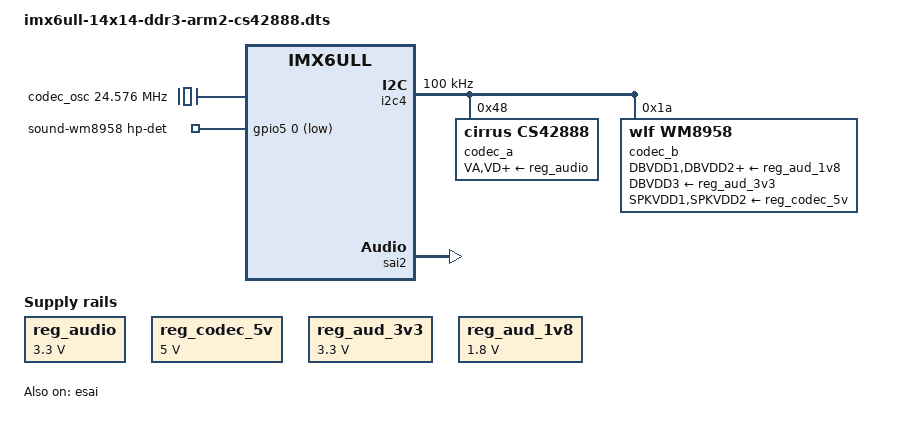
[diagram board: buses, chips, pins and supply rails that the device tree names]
/*
 * Copyright (C) 2016 Freescale Semiconductor, Inc.
 *
 * This program is free software; you can redistribute it and/or modify
 * it under the terms of the GNU General Public License version 2 as
 * published by the Free Software Foundation.
 */

#include "imx6ull-14x14-ddr3-arm2.dts"

/ {
	clocks {
		codec_osc: anaclk2 {
			#clock-cells = <0>;
			compatible = "fixed-clock";
			clock-frequency = <24576000>;
		};
	};

	regulators {
		compatible = "simple-bus";
		#address-cells = <1>;
		#size-cells = <0>;

		reg_audio: cs42888_supply {
			compatible = "regulator-fixed";
			regulator-name = "cs42888_supply";
			regulator-min-microvolt = <3300000>;
			regulator-max-microvolt = <3300000>;
			regulator-always-on;
		};

		reg_codec_5v: codec_5v {
			compatible = "regulator-fixed";
			regulator-name = "CODEC_5V";
			regulator-min-microvolt = <5000000>;
			regulator-max-microvolt = <5000000>;
			enable-active-high;
		};

		reg_aud_3v3: aud_3v3 {
			compatible = "regulator-fixed";
			regulator-name = "AUD_3V3";
			regulator-min-microvolt = <3300000>;
			regulator-max-microvolt = <3300000>;
			enable-active-high;
		};

		reg_aud_1v8: aud_1v8 {
			compatible = "regulator-fixed";
			regulator-name = "AUD_1V8";
			regulator-min-microvolt = <1800000>;
			regulator-max-microvolt = <1800000>;
			enable-active-high;
		};
	};

	sound-cs42888 {
		compatible = "fsl,imx6-sabreauto-cs42888",
			   "fsl,imx-audio-cs42888";
		model = "imx-cs42888";
		esai-controller = <&esai>;
		asrc-controller = <&asrc>;
		audio-codec = <&codec_a>;
		codec-master;
	};

	sound-wm8958 {
		compatible = "fsl,imx6ul-ddr3-arm2-wm8958",
			   "fsl,imx-audio-wm8958";
		model = "wm8958-audio";
		cpu-dai = <&sai2>;
		audio-codec = <&codec_b>;
		codec-master;
		gpr = <&gpr>;
		hp-det-gpios = <&gpio5 0 1>;
	};
};

&clks {
	assigned-clocks = <&clks IMX6UL_CLK_PLL4_AUDIO_DIV>;
	assigned-clock-rates = <786432000>;
};

&esai {
	pinctrl-names = "default";
	pinctrl-0 = <&pinctrl_esai>;
	assigned-clocks = <&clks IMX6UL_CLK_ESAI_SEL>,
		          <&clks IMX6UL_CLK_ESAI_EXTAL>;
	assigned-clock-parents = <&clks IMX6UL_CLK_PLL4_AUDIO_DIV>;
	assigned-clock-rates = <0>, <24576000>;
	status = "okay";
};

&i2c4 {
	clock-frequency = <100000>;
	pinctrl-names = "default";
	pinctrl-0 = <&pinctrl_i2c4>;
	status = "okay";

	codec_a: cs42888@048 {
		compatible = "cirrus,cs42888";
		reg = <0x048>;
		clocks = <&codec_osc 0>;
		clock-names = "mclk";
		VA-supply = <&reg_audio>;
		VD-supply = <&reg_audio>;
		VLS-supply = <&reg_audio>;
		VLC-supply = <&reg_audio>;
	};

	codec_b: wm8958@1a {
		compatible = "wlf,wm8958";
		reg = <0x1a>;
		clocks = <&clks IMX6UL_CLK_SAI2>,
		       <&clks IMX6UL_CLK_DUMMY>;
		clock-names = "mclk1", "mclk2";

		DBVDD1-supply = <&reg_aud_1v8>;
		DBVDD2-supply = <&reg_aud_1v8>;
		DBVDD3-supply = <&reg_aud_3v3>;
		AVDD2-supply = <&reg_aud_1v8>;
		CPVDD-supply = <&reg_aud_1v8>;
		SPKVDD1-supply = <&reg_codec_5v>;
		SPKVDD2-supply = <&reg_codec_5v>;

		wlf,ldo1ena;
		wlf,ldo2ena;
	};
};

&ov5640 {
	status = "disabled";
};

&sai2 {
	pinctrl-names = "default";
	pinctrl-0 = <&pinctrl_sai2>;
	assigned-clocks = <&clks IMX6UL_CLK_SAI2_SEL>,
			<&clks IMX6UL_CLK_SAI2>;
	assigned-clock-parents = <&clks IMX6UL_CLK_PLL4_AUDIO_DIV>;
	assigned-clock-rates = <0>, <24576000>;
	status = "okay";
};

&sdma {
        gpr = <&gpr>;
        /* SDMA event remap for ESAI */
        fsl,sdma-event-remap = <0 14 1>, <0 15 1>;
};

&uart2 {
	status = "disabled";
};

&usdhc1 {
	status = "disabled";
};
